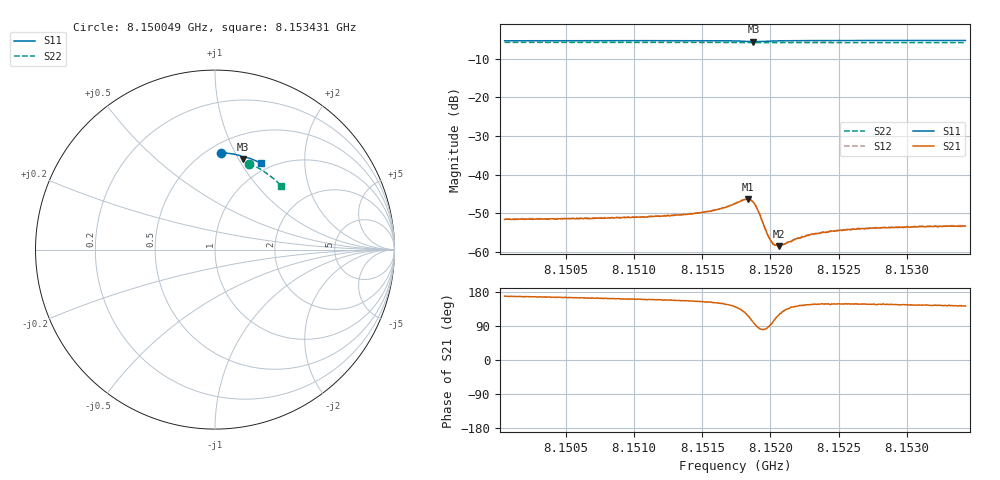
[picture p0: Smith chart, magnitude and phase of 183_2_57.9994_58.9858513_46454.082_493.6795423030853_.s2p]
#  HZ  S  RI  R  50.00
! Rohde & Schwarz Vector Network Analyzer
! Rohde-Schwarz,ZNB20-2Port,1311601062101988,3.16
! Created: UTC 3/21/2024, 12:58:25 AM
! freq[Hz]  re:S11  im:S11  re:S21  im:S21  re:S12  im:S12  re:S22  im:S22
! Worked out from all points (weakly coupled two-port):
!   401 points, 8.150049 GHz to 8.153431 GHz, reference 50 ohm
!   highest |S21| = -46.28 dB at 8.151833 GHz (marker M1); lowest = -58.4 dB at 8.152061 GHz (marker M2)
!   lowest |S11| = -5.6 dB at 8.151875 GHz (marker M3), VSWR 3.22, Z = 37.4 + j52 ohm
!   |S11| at or under -10 dB: nowhere
!   |S22| runs from -5.8 to -5.8 dB; largest |S21 - S12| = 0.00013
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8.1500489e9  0.0345 0.5394  -0.00259 0.000518  -0.00262 0.000571  0.1896 0.4797
8.1506154e9  0.0743 0.5362  -0.00263 0.000748  -0.00265 0.000822  0.2229 0.4644
8.1511819e9  0.1142 0.53  -0.00271 0.00104  -0.00271 0.00111  0.2548 0.4468
8.1513764e9  0.128 0.5269  -0.0028 0.00123  -0.00284 0.00128  0.2656 0.4401
8.1515201e9  0.1388 0.5241  -0.00293 0.0015  -0.00297 0.00152  0.2733 0.4351
8.15163e9  0.1474 0.5209  -0.00314 0.00183  -0.00311 0.00189  0.2792 0.4313
8.1517399e9  0.1563 0.5151  -0.00327 0.00268  -0.00325 0.00277  0.285 0.4272
8.1517991e9  0.1596 0.5091  -0.00299 0.00367  -0.00292 0.00376  0.288 0.4246
8.1518329e9  0.1593 0.505  -0.00225 0.0043  -0.00217 0.00433  0.2896 0.4233
8.1518583e9  0.1569 0.5028  -0.0013 0.00446  -0.00129 0.00455  0.2909 0.4224
8.1518752e9  0.1546 0.5024  -0.000661 0.00434  -0.000614 0.00437  0.2917 0.4219
8.151909e9  0.1515 0.5054  0.00026 0.00342  0.000292 0.00345  0.2931 0.4209
8.1519767e9  0.1549 0.5123  0.000161 0.00172  0.000162 0.00171  0.2967 0.4184
8.152002e9  0.1575 0.5137  -8.22e-05 0.0014  -8.78e-05 0.00145  0.2982 0.4176
8.1520274e9  0.16 0.5142  -0.000327 0.00121  -0.000314 0.00122  0.2996 0.4166
8.1520612e9  0.1635 0.5147  -0.000572 0.00106  -0.000556 0.00108  0.3013 0.4154
8.1521035e9  0.1672 0.5145  -0.000829 0.000973  -0.000811 0.000979  0.3034 0.4137
8.1521881e9  0.1744 0.5135  -0.00116 0.000923  -0.0012 0.00092  0.3078 0.4104
8.1523064e9  0.1835 0.5113  -0.00144 0.000942  -0.00141 0.000934  0.3138 0.4057
8.1525009e9  0.1974 0.5068  -0.00161 0.000987  -0.00159 0.00104  0.3233 0.3978
8.1528729e9  0.2221 0.4973  -0.00173 0.00112  -0.00172 0.0012  0.3412 0.3819
8.1534309e9  0.2576 0.4809  -0.00173 0.00131  -0.00176 0.00133  0.3663 0.3569
